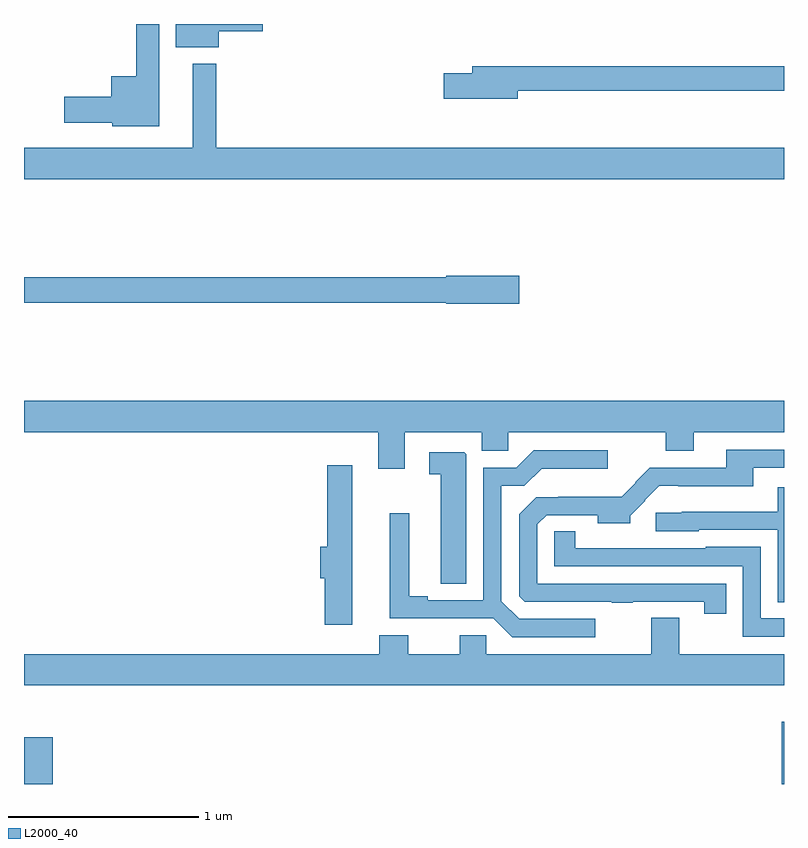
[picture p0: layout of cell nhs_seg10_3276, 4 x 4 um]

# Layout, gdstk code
import gdstk
lib = gdstk.Library(unit=1e-6, precision=1e-09)
def R(c, l, rs):  # rectangles x0, y0, x1, y1
    for r in rs: c.add(gdstk.rectangle(r[:2], r[2:], *l))
def P(c, l, *ps):  # polygons
    for p in ps: c.add(gdstk.Polygon(p, *l))
L2000_40 = (2000, 40)

nhs_seg10_3276 = lib.new_cell('nhs_seg10_3276')
R(nhs_seg10_3276, L2000_40, [(289,1262.5,289.151,1262.746), (292.987,1262.5,293,1262.827)])
P(nhs_seg10_3276, L2000_40, [(290.026,1266.461),(290.257,1266.461),(290.257,1266.5),(289.799,1266.5),(289.799,1266.377),(290.026,1266.377)],
  [(289.711,1266.5),(289.59,1266.5),(289.59,1266.226),(289.46,1266.226),(289.46,1266.116),(289.212,1266.116),(289.212,1265.981),(289.464,1265.981),(289.464,1265.963),(289.711,1265.963)],
  [(293,1265.848),(290.011,1265.848),(290.011,1266.292),(289.889,1266.292),(289.889,1265.848),(289,1265.848),(289,1265.684),(293,1265.684)],
  [(291.598,1266.15),(293,1266.15),(293,1266.278),(291.359,1266.278),(291.359,1266.242),(291.21,1266.242),(291.21,1266.107),(291.598,1266.107)],
  [(291.607,1265.174),(291.222,1265.174),(291.222,1265.168),(289,1265.168),(289,1265.032),(291.222,1265.032),(291.222,1265.027),(291.607,1265.027)],
  [(291.004,1264.352),(291.41,1264.352),(291.41,1264.254),(291.549,1264.254),(291.549,1264.352),(292.378,1264.352),(292.378,1264.253),(292.525,1264.253),(292.525,1264.352),(293,1264.352),(293,1264.516),(289,1264.516),(289,1264.352),(290.864,1264.352),(290.864,1264.158),(291.004,1264.158)],
  [(292.697,1263.555),(291.702,1263.555),(291.702,1263.867),(291.75,1263.915),(292.019,1263.915),(292.019,1263.872),(292.19,1263.872),(292.19,1263.912),(292.269,1263.99),(292.266,1263.993),(292.343,1264.07),(292.444,1264.07),(292.444,1264.067),(292.837,1264.067),(292.837,1264.164),(293,1264.164),(293,1264.26),(292.697,1264.26),(292.697,1264.164),(292.293,1264.164),(292.217,1264.087),(292.219,1264.085),(292.145,1264.012),(291.811,1264.012),(291.811,1264.01),(291.695,1264.01),(291.606,1263.921),(291.606,1263.489),(291.636,1263.459),(292.093,1263.459),(292.093,1263.454),(292.205,1263.454),(292.205,1263.459),(292.579,1263.459),(292.579,1263.396),(292.697,1263.396)],
  [(292.006,1263.369),(291.606,1263.369),(291.513,1263.462),(291.513,1264.069),(291.634,1264.069),(291.725,1264.16),(292.072,1264.16),(292.072,1264.257),(291.684,1264.257),(291.591,1264.164),(291.417,1264.164),(291.417,1263.468),(291.124,1263.468),(291.124,1263.488),(291.028,1263.488),(291.028,1263.925),(290.924,1263.925),(290.924,1263.372),(291.47,1263.372),(291.569,1263.273),(292.006,1263.273)],
  [(291.328,1264.235),(291.318,1264.245),(291.132,1264.245),(291.132,1264.129),(291.194,1264.129),(291.194,1263.553),(291.328,1263.553)],
  [(290.728,1264.177),(290.597,1264.177),(290.597,1263.749),(290.558,1263.749),(290.558,1263.582),(290.582,1263.582),(290.582,1263.338),(290.728,1263.338)],
  [(293,1264.063),(292.967,1264.063),(292.967,1263.934),(292.461,1263.934),(292.461,1263.927),(292.326,1263.927),(292.326,1263.831),(292.551,1263.831),(292.551,1263.837),(292.968,1263.837),(292.968,1263.457),(293,1263.457)],
  [(293,1263.372),(292.878,1263.372),(292.878,1263.748),(292.587,1263.748),(292.587,1263.741),(292.155,1263.741),(292.155,1263.742),(291.901,1263.742),(291.901,1263.83),(291.792,1263.83),(291.792,1263.645),(292.782,1263.645),(292.782,1263.276),(293,1263.276)],
  [(293,1263.184),(292.449,1263.184),(292.449,1263.374),(292.301,1263.374),(292.301,1263.184),(291.432,1263.184),(291.432,1263.282),(291.293,1263.282),(291.293,1263.184),(291.022,1263.184),(291.022,1263.283),(290.87,1263.283),(290.87,1263.184),(289,1263.184),(289,1263.02),(293,1263.02)])

lib.write_gds('nhs_seg10_3276.gds')
